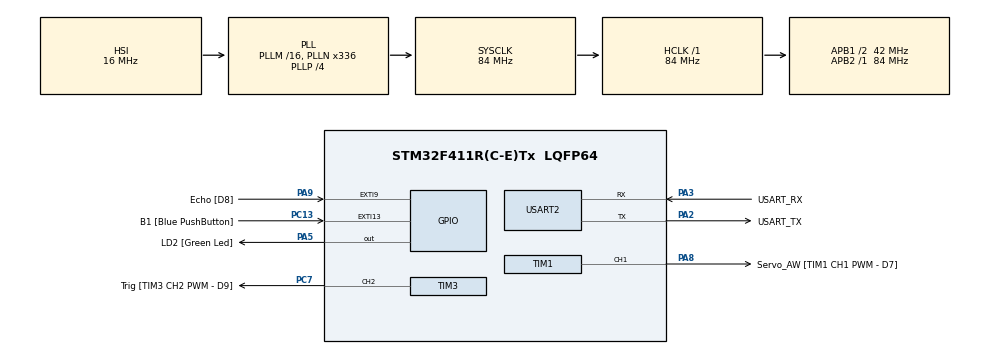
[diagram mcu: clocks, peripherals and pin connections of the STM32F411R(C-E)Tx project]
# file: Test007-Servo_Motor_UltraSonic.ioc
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Mcu.Family=STM32F4
Mcu.Name=STM32F411R(C-E)Tx
Mcu.Package=LQFP64
NVIC.EXTI9_5_IRQn=true\:0\:0\:false\:false\:true\:true\:true\:true
NVIC.PriorityGroup=NVIC_PRIORITYGROUP_0
PA13.GPIO_Label=TMS
PA13.Mode=Serial_Wire
PA13.Signal=SYS_JTMS-SWDIO
PA14.GPIO_Label=TCK
PA14.Mode=Serial_Wire
PA14.Signal=SYS_JTCK-SWCLK
PA2.GPIO_Label=USART_TX
PA2.Mode=Asynchronous
PA2.Signal=USART2_TX
PA3.GPIO_Label=USART_RX
PA3.Mode=Asynchronous
PA3.Signal=USART2_RX
PA5.GPIO_Label=LD2 [Green Led]
PA5.Signal=GPIO_Output
PA8.GPIO_Label=Servo_AW [TIM1 CH1 PWM - D7]
PA8.Signal=S_TIM1_CH1
PA9.GPIO_Label=Echo [D8]
PA9.GPIO_ModeDefaultEXTI=GPIO_MODE_IT_RISING_FALLING
PA9.Signal=GPXTI9
PB3.GPIO_Label=SWO
PB3.Signal=SYS_JTDO-SWO
PC13-ANTI_TAMP.GPIO_Label=B1 [Blue PushButton]
PC13-ANTI_TAMP.GPIO_ModeDefaultEXTI=GPIO_MODE_IT_FALLING
PC13-ANTI_TAMP.Signal=GPXTI13
PC14-OSC32_IN.Mode=LSE-External-Oscillator
PC14-OSC32_IN.Signal=RCC_OSC32_IN
PC15-OSC32_OUT.Mode=LSE-External-Oscillator
PC15-OSC32_OUT.Signal=RCC_OSC32_OUT
PC7.GPIO_Label=Trig [TIM3 CH2 PWM - D9]
PC7.Signal=S_TIM3_CH2
PH0\ -\ OSC_IN.Mode=HSE-External-Clock-Source
PH0\ -\ OSC_IN.Signal=RCC_OSC_IN
PH1\ -\ OSC_OUT.Mode=HSE-External-Clock-Source
PH1\ -\ OSC_OUT.Signal=RCC_OSC_OUT
ProjectManager.HeapSize=0x200
ProjectManager.StackSize=0x400
ProjectManager.TargetToolchain=STM32CubeIDE
RCC.48MHZClocksFreq_Value=84000000
RCC.AHBFreq_Value=84000000
RCC.APB1CLKDivider=RCC_HCLK_DIV2
RCC.APB1Freq_Value=42000000
RCC.APB1TimFreq_Value=84000000
RCC.APB2Freq_Value=84000000
RCC.APB2TimFreq_Value=84000000
RCC.CortexFreq_Value=84000000
RCC.FLatency-AdvancedSettings=FLASH_LATENCY_2
RCC.HCLKFreq_Value=84000000
RCC.HSE_VALUE=8000000
RCC.HSI_VALUE=16000000
RCC.PLLN=336
RCC.PLLP=RCC_PLLP_DIV4
RCC.SYSCLKFreq_VALUE=84000000
RCC.SYSCLKSource=RCC_SYSCLKSOURCE_PLLCLK
RCC.VCOOutputFreq_Value=336000000
SH.S_TIM1_CH1.0=TIM1_CH1,PWM Generation1 CH1
SH.S_TIM3_CH2.0=TIM3_CH2,PWM Generation2 CH2
TIM1.Channel-PWM\ Generation1\ CH1=TIM_CHANNEL_1
TIM1.Period=20000 - 1
TIM1.Prescaler=84 - 1
TIM2.Prescaler=84 - 1
TIM3.Channel-PWM\ Generation2\ CH2=TIM_CHANNEL_2
TIM3.Period=60000 - 1
TIM3.Prescaler=84 - 1
TIM3.Pulse-PWM\ Generation2\ CH2=15 - 1
USART2.VirtualMode=VM_ASYNC
VP_TIM1_VS_ClockSourceINT.Mode=Internal
VP_TIM2_VS_ClockSourceINT.Mode=Internal
VP_TIM3_VS_ClockSourceINT.Mode=Internal
board=NUCLEO-F411RE

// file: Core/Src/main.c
/* USER CODE BEGIN Header */
/**
  ******************************************************************************
  * @file           : main.c
  * @brief          : Main program body
  ******************************************************************************
  * @attention
  *
  * Copyright (c) 2025 STMicroelectronics.
  * All rights reserved.
  *
  * This software is licensed under terms that can be found in the LICENSE file
  * in the root directory of this software component.
  * If no LICENSE file comes with this software, it is provided AS-IS.
  *
  ******************************************************************************
  */
/* USER CODE END Header */
#include "main.h"

/* USER CODE BEGIN Includes */
#include <stdio.h>
/* USER CODE END Includes */

TIM_HandleTypeDef htim1;
TIM_HandleTypeDef htim2;
TIM_HandleTypeDef htim3;

UART_HandleTypeDef huart2;

void SystemClock_Config(void);
static void MX_GPIO_Init(void);
static void MX_USART2_UART_Init(void);
static void MX_TIM3_Init(void);
static void MX_TIM1_Init(void);
static void MX_TIM2_Init(void);

/* USER CODE BEGIN 0 */
volatile double dist; //
volatile int Time_REF, Time_RT; //

// *** External Interrupt ISR  *** //
void HAL_GPIO_EXTI_Callback(uint16_t GPIO_Pin)
{
	// Assume that there is "Echo" GPIO EXTI Pin

	if ( GPIO_Pin == Echo_Pin )
	{
		// Rising Edge ('0' -> '1')
		if ( HAL_GPIO_ReadPin(Echo_GPIO_Port, Echo_Pin) == 1 )
		{
			// printf( "Echo Signal goes High %lu us \r\n", htim2.Instance->CNT); // At 2278 us,
			Time_REF = htim3.Instance->CNT;
			// Time_REF = htim2.Instance->CNT;
		}

		// Falling Edge ('1' -> '0')
		else // ( HAL_GPIO_ReadPin(Echo_GPIO_Port, Echo_Pin) == 0 )
		{
			Time_RT = htim3.Instance->CNT; // Round-trip Time
			// Time_RT = htim2.Instance->CNT;
			dist = (Time_REF < Time_RT) ? (Time_RT - Time_REF) * 0.17 : (Time_RT + 60000 - Time_REF ) * 0.17;
		}
	}
}

/* USER CODE END 0 */

int main(void)
{

  /* MCU Configuration--------------------------------------------------------*/

  /* Reset of all peripherals, Initializes the Flash interface and the Systick. */
  HAL_Init();

  /* Configure the system clock */
  SystemClock_Config();

  /* Initialize all configured peripherals */
  MX_GPIO_Init();
  MX_USART2_UART_Init();
  MX_TIM3_Init();
  MX_TIM1_Init();
  MX_TIM2_Init();
  /* USER CODE BEGIN 2 */
  ProgramStart("Motor Control - Servo & Ultra-Sonic Sensor (SRF05) - Auto-door Application");
  // TIM_init(&htim2); // which Timer will be used?
  HAL_TIM_PWM_Start(&htim3, TIM_CHANNEL_2); // Start Timer3 for Trig PWM Signal
  // HAL_StatusTypeDef HAL_TIM_PWM_Start(TIM_HandleTypeDef *htim, uint32_t Channel);
  // HAL_TIM_Base_Start(&htim2); // Start Timer2 for Echo Round-trip Time Meas.

  HAL_TIM_PWM_Start(&htim1, TIM_CHANNEL_1); // Start Timer1 for Servo_Motor PWM Signal
  /* USER CODE END 2 */

  /* Infinite loop */
  /* USER CODE BEGIN WHILE */
  int CCR_min = 500, CCR_max = 2500;
  while (1)
  {
	  Cursor(0 , 5); // void Cursor(int x, int y)
	  printf( "Distance : %6.2f \r\n", dist);

	  // Criteria : Distance < 50 cm (500 mm)
	  if (dist < 500 ) // Close Object
	  {
		  htim1.Instance->CCR1 = CCR_max;
		  printf( "Door Open!! \r\n");
	  }
	  else
	  {
		  htim1.Instance->CCR1 = CCR_min;
		  printf( "Door Close!! \r\n", dist);
	  }
	  HAL_Delay(500); // Meas. Interval 500 ms
	  // Range : 500 (-90 degree) - 2500 (+90 degree) -> 0.5 ms - 2.5 ms

    /* USER CODE END WHILE */

  }
}

void SystemClock_Config(void)
{
  RCC_OscInitTypeDef RCC_OscInitStruct = {0};
  RCC_ClkInitTypeDef RCC_ClkInitStruct = {0};

  /** Configure the main internal regulator output voltage
  */
  __HAL_RCC_PWR_CLK_ENABLE();
  __HAL_PWR_VOLTAGESCALING_CONFIG(PWR_REGULATOR_VOLTAGE_SCALE1);

  /** Initializes the RCC Oscillators according to the specified parameters
  * in the RCC_OscInitTypeDef structure.
  */
  RCC_OscInitStruct.OscillatorType = RCC_OSCILLATORTYPE_HSI;
  RCC_OscInitStruct.HSIState = RCC_HSI_ON;
  RCC_OscInitStruct.HSICalibrationValue = RCC_HSICALIBRATION_DEFAULT;
  RCC_OscInitStruct.PLL.PLLState = RCC_PLL_ON;
  RCC_OscInitStruct.PLL.PLLSource = RCC_PLLSOURCE_HSI;
  RCC_OscInitStruct.PLL.PLLM = 16;
  RCC_OscInitStruct.PLL.PLLN = 336;
  RCC_OscInitStruct.PLL.PLLP = RCC_PLLP_DIV4;
  RCC_OscInitStruct.PLL.PLLQ = 4;
  if (HAL_RCC_OscConfig(&RCC_OscInitStruct) != HAL_OK)
  {
    Error_Handler();
  }

  /** Initializes the CPU, AHB and APB buses clocks
  */
  RCC_ClkInitStruct.ClockType = RCC_CLOCKTYPE_HCLK|RCC_CLOCKTYPE_SYSCLK
                              |RCC_CLOCKTYPE_PCLK1|RCC_CLOCKTYPE_PCLK2;
  RCC_ClkInitStruct.SYSCLKSource = RCC_SYSCLKSOURCE_PLLCLK;
  RCC_ClkInitStruct.AHBCLKDivider = RCC_SYSCLK_DIV1;
  RCC_ClkInitStruct.APB1CLKDivider = RCC_HCLK_DIV2;
  RCC_ClkInitStruct.APB2CLKDivider = RCC_HCLK_DIV1;

  if (HAL_RCC_ClockConfig(&RCC_ClkInitStruct, FLASH_LATENCY_2) != HAL_OK)
  {
    Error_Handler();
  }
}

static void MX_TIM1_Init(void)
{

  TIM_ClockConfigTypeDef sClockSourceConfig = {0};
  TIM_MasterConfigTypeDef sMasterConfig = {0};
  TIM_OC_InitTypeDef sConfigOC = {0};
  TIM_BreakDeadTimeConfigTypeDef sBreakDeadTimeConfig = {0};

  htim1.Instance = TIM1;
  htim1.Init.Prescaler = 84 - 1;
  htim1.Init.CounterMode = TIM_COUNTERMODE_UP;
  htim1.Init.Period = 20000 - 1;
  htim1.Init.ClockDivision = TIM_CLOCKDIVISION_DIV1;
  htim1.Init.RepetitionCounter = 0;
  htim1.Init.AutoReloadPreload = TIM_AUTORELOAD_PRELOAD_DISABLE;
  if (HAL_TIM_Base_Init(&htim1) != HAL_OK)
  {
    Error_Handler();
  }
  sClockSourceConfig.ClockSource = TIM_CLOCKSOURCE_INTERNAL;
  if (HAL_TIM_ConfigClockSource(&htim1, &sClockSourceConfig) != HAL_OK)
  {
    Error_Handler();
  }
  if (HAL_TIM_PWM_Init(&htim1) != HAL_OK)
  {
    Error_Handler();
  }
  sMasterConfig.MasterOutputTrigger = TIM_TRGO_RESET;
  sMasterConfig.MasterSlaveMode = TIM_MASTERSLAVEMODE_DISABLE;
  if (HAL_TIMEx_MasterConfigSynchronization(&htim1, &sMasterConfig) != HAL_OK)
  {
    Error_Handler();
  }
  sConfigOC.OCMode = TIM_OCMODE_PWM1;
  sConfigOC.Pulse = 0;
  sConfigOC.OCPolarity = TIM_OCPOLARITY_HIGH;
  sConfigOC.OCNPolarity = TIM_OCNPOLARITY_HIGH;
  sConfigOC.OCFastMode = TIM_OCFAST_DISABLE;
  sConfigOC.OCIdleState = TIM_OCIDLESTATE_RESET;
  sConfigOC.OCNIdleState = TIM_OCNIDLESTATE_RESET;
  if (HAL_TIM_PWM_ConfigChannel(&htim1, &sConfigOC, TIM_CHANNEL_1) != HAL_OK)
  {
    Error_Handler();
  }
  sBreakDeadTimeConfig.OffStateRunMode = TIM_OSSR_DISABLE;
  sBreakDeadTimeConfig.OffStateIDLEMode = TIM_OSSI_DISABLE;
  sBreakDeadTimeConfig.LockLevel = TIM_LOCKLEVEL_OFF;
  sBreakDeadTimeConfig.DeadTime = 0;
  sBreakDeadTimeConfig.BreakState = TIM_BREAK_DISABLE;
  sBreakDeadTimeConfig.BreakPolarity = TIM_BREAKPOLARITY_HIGH;
  sBreakDeadTimeConfig.AutomaticOutput = TIM_AUTOMATICOUTPUT_DISABLE;
  if (HAL_TIMEx_ConfigBreakDeadTime(&htim1, &sBreakDeadTimeConfig) != HAL_OK)
  {
    Error_Handler();
  }
  HAL_TIM_MspPostInit(&htim1);

}

static void MX_TIM2_Init(void)
{

  TIM_ClockConfigTypeDef sClockSourceConfig = {0};
  TIM_MasterConfigTypeDef sMasterConfig = {0};

  htim2.Instance = TIM2;
  htim2.Init.Prescaler = 84 - 1;
  htim2.Init.CounterMode = TIM_COUNTERMODE_UP;
  htim2.Init.Period = 4294967295;
  htim2.Init.ClockDivision = TIM_CLOCKDIVISION_DIV1;
  htim2.Init.AutoReloadPreload = TIM_AUTORELOAD_PRELOAD_DISABLE;
  if (HAL_TIM_Base_Init(&htim2) != HAL_OK)
  {
    Error_Handler();
  }
  sClockSourceConfig.ClockSource = TIM_CLOCKSOURCE_INTERNAL;
  if (HAL_TIM_ConfigClockSource(&htim2, &sClockSourceConfig) != HAL_OK)
  {
    Error_Handler();
  }
  sMasterConfig.MasterOutputTrigger = TIM_TRGO_RESET;
  sMasterConfig.MasterSlaveMode = TIM_MASTERSLAVEMODE_DISABLE;
  if (HAL_TIMEx_MasterConfigSynchronization(&htim2, &sMasterConfig) != HAL_OK)
  {
    Error_Handler();
  }

}

static void MX_TIM3_Init(void)
{

  TIM_ClockConfigTypeDef sClockSourceConfig = {0};
  TIM_MasterConfigTypeDef sMasterConfig = {0};
  TIM_OC_InitTypeDef sConfigOC = {0};

  htim3.Instance = TIM3;
  htim3.Init.Prescaler = 84 - 1;
  htim3.Init.CounterMode = TIM_COUNTERMODE_UP;
  htim3.Init.Period = 60000 - 1;
  htim3.Init.ClockDivision = TIM_CLOCKDIVISION_DIV1;
  htim3.Init.AutoReloadPreload = TIM_AUTORELOAD_PRELOAD_DISABLE;
  if (HAL_TIM_Base_Init(&htim3) != HAL_OK)
  {
    Error_Handler();
  }
  sClockSourceConfig.ClockSource = TIM_CLOCKSOURCE_INTERNAL;
  if (HAL_TIM_ConfigClockSource(&htim3, &sClockSourceConfig) != HAL_OK)
  {
    Error_Handler();
  }
  if (HAL_TIM_PWM_Init(&htim3) != HAL_OK)
  {
    Error_Handler();
  }
  sMasterConfig.MasterOutputTrigger = TIM_TRGO_RESET;
  sMasterConfig.MasterSlaveMode = TIM_MASTERSLAVEMODE_DISABLE;
  if (HAL_TIMEx_MasterConfigSynchronization(&htim3, &sMasterConfig) != HAL_OK)
  {
    Error_Handler();
  }
  sConfigOC.OCMode = TIM_OCMODE_PWM1;
  sConfigOC.Pulse = 15 - 1;
  sConfigOC.OCPolarity = TIM_OCPOLARITY_HIGH;
  sConfigOC.OCFastMode = TIM_OCFAST_DISABLE;
  if (HAL_TIM_PWM_ConfigChannel(&htim3, &sConfigOC, TIM_CHANNEL_2) != HAL_OK)
  {
    Error_Handler();
  }
  HAL_TIM_MspPostInit(&htim3);

}

static void MX_USART2_UART_Init(void)
{

  huart2.Instance = USART2;
  huart2.Init.BaudRate = 115200;
  huart2.Init.WordLength = UART_WORDLENGTH_8B;
  huart2.Init.StopBits = UART_STOPBITS_1;
  huart2.Init.Parity = UART_PARITY_NONE;
  huart2.Init.Mode = UART_MODE_TX_RX;
  huart2.Init.HwFlowCtl = UART_HWCONTROL_NONE;
  huart2.Init.OverSampling = UART_OVERSAMPLING_16;
  if (HAL_UART_Init(&huart2) != HAL_OK)
  {
    Error_Handler();
  }

}

static void MX_GPIO_Init(void)
{
  GPIO_InitTypeDef GPIO_InitStruct = {0};

  /* GPIO Ports Clock Enable */
  __HAL_RCC_GPIOC_CLK_ENABLE();
  __HAL_RCC_GPIOH_CLK_ENABLE();
  __HAL_RCC_GPIOA_CLK_ENABLE();
  __HAL_RCC_GPIOB_CLK_ENABLE();

  /*Configure GPIO pin Output Level */
  HAL_GPIO_WritePin(LD2_GPIO_Port, LD2_Pin, GPIO_PIN_RESET);

  /*Configure GPIO pin : B1_Pin */
  GPIO_InitStruct.Pin = B1_Pin;
  GPIO_InitStruct.Mode = GPIO_MODE_IT_FALLING;
  GPIO_InitStruct.Pull = GPIO_NOPULL;
  HAL_GPIO_Init(B1_GPIO_Port, &GPIO_InitStruct);

  /*Configure GPIO pin : LD2_Pin */
  GPIO_InitStruct.Pin = LD2_Pin;
  GPIO_InitStruct.Mode = GPIO_MODE_OUTPUT_PP;
  GPIO_InitStruct.Pull = GPIO_NOPULL;
  GPIO_InitStruct.Speed = GPIO_SPEED_FREQ_LOW;
  HAL_GPIO_Init(LD2_GPIO_Port, &GPIO_InitStruct);

  /*Configure GPIO pin : Echo_Pin */
  GPIO_InitStruct.Pin = Echo_Pin;
  GPIO_InitStruct.Mode = GPIO_MODE_IT_RISING_FALLING;
  GPIO_InitStruct.Pull = GPIO_NOPULL;
  HAL_GPIO_Init(Echo_GPIO_Port, &GPIO_InitStruct);

  /* EXTI interrupt init*/
  HAL_NVIC_SetPriority(EXTI9_5_IRQn, 0, 0);
  HAL_NVIC_EnableIRQ(EXTI9_5_IRQn);

}

void Error_Handler(void)
{
  __disable_irq();
  while (1)
  {
  }
}
